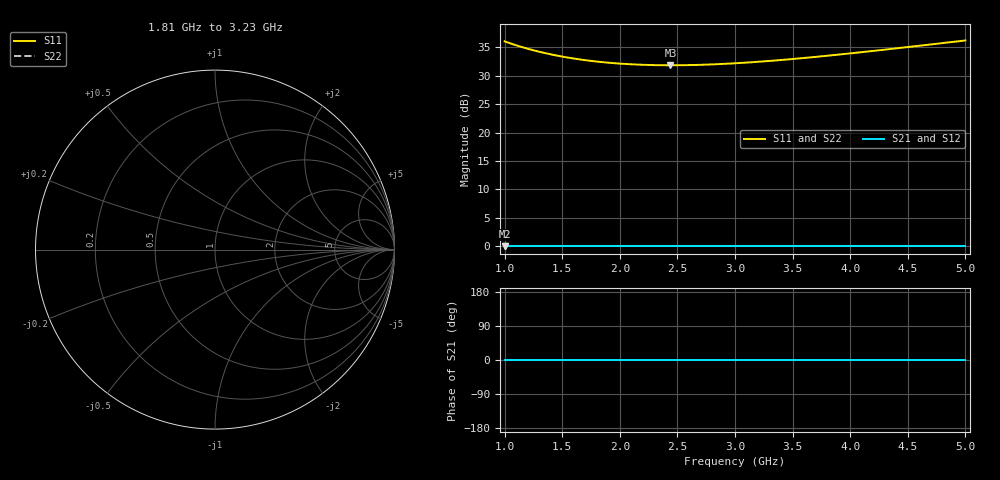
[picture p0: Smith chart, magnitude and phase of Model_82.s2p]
# GHZ S RI R 50
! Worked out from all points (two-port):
!   401 points, 1 GHz to 5 GHz, reference 50 ohm
!   highest |S21| = 0.00 dB at 1 GHz (marker M1); lowest = 0.0 dB at 1 GHz (marker M2)
!   |S21| within 3 dB of the highest: start of sweep to end of sweep
!   lowest |S11| = 31.8 dB at 2.44 GHz (marker M3)
!   |S11| at or under -10 dB: nowhere
!   |S22| runs from 31.8 to 36.2 dB; largest |S21 - S12| = 0
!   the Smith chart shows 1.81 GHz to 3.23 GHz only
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1  63.47 0  1 0  1 0  63.47 0
1.02  62.42 0  1 0  1 0  62.42 0
1.15  56.56 0  1 0  1 0  56.56 0
1.22  54 0  1 0  1 0  54 0
1.3  51.48 0  1 0  1 0  51.48 0
1.38  49.33 0  1 0  1 0  49.33 0
1.47  47.27 0  1 0  1 0  47.27 0
1.57  45.36 0  1 0  1 0  45.36 0
1.67  43.79 0  1 0  1 0  43.79 0
1.82  41.97 0  1 0  1 0  41.97 0
1.98  40.61 0  1 0  1 0  40.61 0
2.15  39.69 0  1 0  1 0  39.69 0
2.34  39.19 0  1 0  1 0  39.19 0
2.44  39.13 0  1 0  1 0  39.13 0
2.71  39.52 0  1 0  1 0  39.52 0
3  40.73 0  1 0  1 0  40.73 0
3.33  42.96 0  1 0  1 0  42.96 0
3.67  46.06 0  1 0  1 0  46.06 0
4  49.78 0  1 0  1 0  49.78 0
4.34  54.26 0  1 0  1 0  54.26 0
4.64  58.74 0  1 0  1 0  58.74 0
5  64.71 0  1 0  1 0  64.71 0
